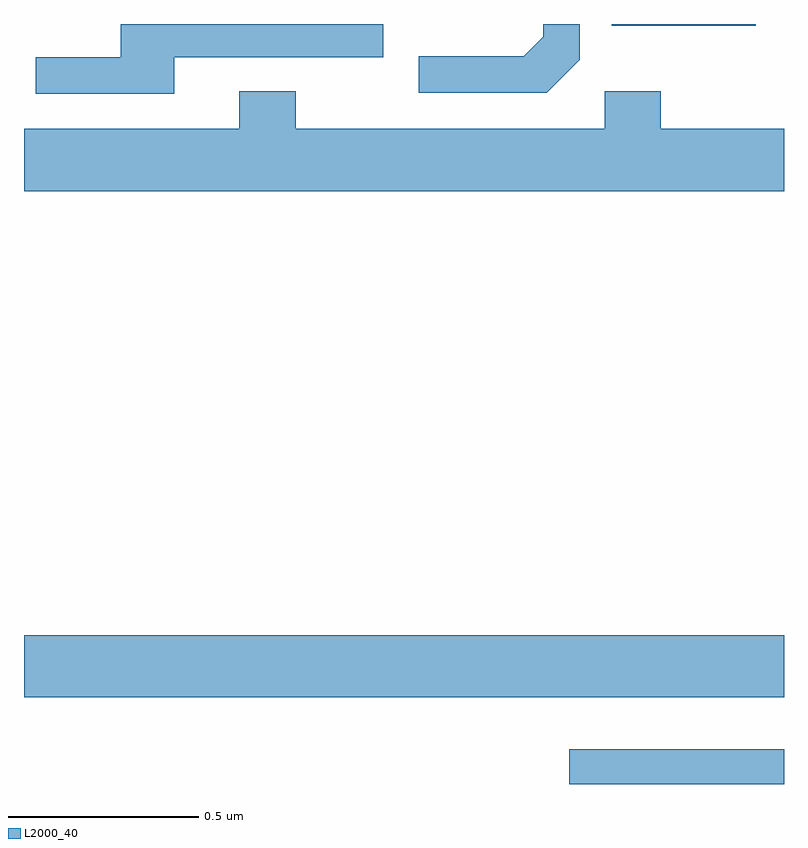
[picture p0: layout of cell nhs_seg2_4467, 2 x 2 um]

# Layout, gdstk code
import gdstk
lib = gdstk.Library(unit=1e-6, precision=1e-09)
def R(c, l, rs):  # rectangles x0, y0, x1, y1
    for r in rs: c.add(gdstk.rectangle(r[:2], r[2:], *l))
def P(c, l, *ps):  # polygons
    for p in ps: c.add(gdstk.Polygon(p, *l))
L2000_40 = (2000, 40)

nhs_seg2_4467 = lib.new_cell('nhs_seg2_4467')
R(nhs_seg2_4467, L2000_40, [(168.435,588.8,169,588.892), (167,589.028,169,589.192), (168.547,590.795,168.925,590.8)])
P(nhs_seg2_4467, L2000_40, [(167.395,590.712),(167.946,590.712),(167.946,590.8),(167.255,590.8),(167.255,590.712),(167.031,590.712),(167.031,590.616),(167.395,590.616)],
  [(168.462,590.706),(168.462,590.8),(168.366,590.8),(168.366,590.766),(168.315,590.715),(168.039,590.715),(168.039,590.619),(168.375,590.619)],
  [(169,590.524),(168.675,590.524),(168.675,590.623),(168.528,590.623),(168.528,590.524),(167.715,590.524),(167.715,590.623),(167.567,590.623),(167.567,590.524),(167,590.524),(167,590.36),(169,590.36)])

lib.write_gds('nhs_seg2_4467.gds')
